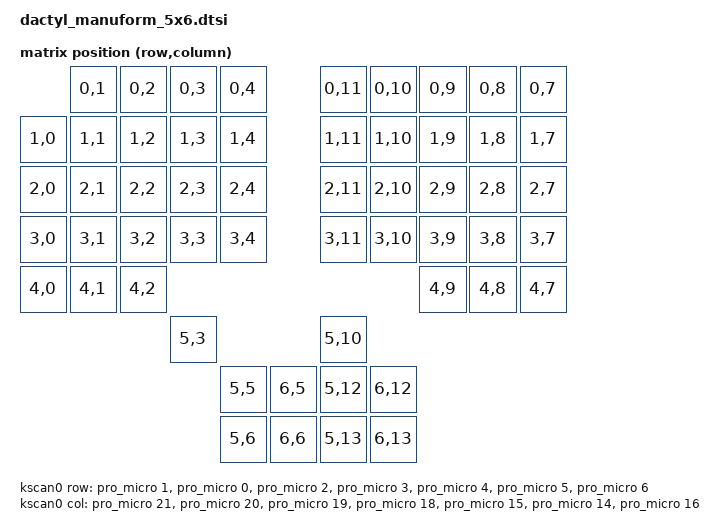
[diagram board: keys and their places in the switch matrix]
#include <dt-bindings/zmk/matrix_transform.h>

/*
 * Handwired Dactyl Manuform (Cosmos), SuperMini nRF52840 per half.
 * Each half: 7 rows x 7 cols, diodes col2row (cathode/stripe on the row wire).
 * Positions below were mapped from USB diagnostic logs of both halves.
 *
 * Visual order: left half pinky -> inner, right half inner -> pinky.
 * Right half cols are offset by 7 (pinky = 7 ... inner = 11, thumbs 12/13).
 *
 *            L: ring mid  idx  inner        R: inner idx  mid  ring pinky
 *  number        0,1  0,2  0,3  0,4             0,11  0,10 0,9  0,8  0,7
 *  Q row    1,0  1,1  1,2  1,3  1,4             1,11  1,10 1,9  1,8  1,7
 *  home     2,0  2,1  2,2  2,3  2,4             2,11  2,10 2,9  2,8  2,7
 *  bottom   3,0  3,1  3,2  3,3  3,4             3,11  3,10 3,9  3,8  3,7
 *  extra    4,0  4,1  4,2                                  4,9  4,8  4,7
 *
 *  thumbs (as seen from the front):
 *        single       5,3                       5,10
 *        middle pair  5,5  6,5                  5,12  6,12
 *        bottom pair  5,6  6,6 (rest)           5,13 (rest)  6,13
 */

/ {
    chosen {
        zmk,kscan = &kscan0;
        zmk,matrix_transform = &default_transform;
    };

    default_transform: keymap_transform_0 {
        compatible = "zmk,matrix-transform";
        rows = <7>;
        columns = <14>;
        map = <
        RC(0,1) RC(0,2) RC(0,3) RC(0,4)            RC(0,11) RC(0,10) RC(0,9) RC(0,8) RC(0,7)
RC(1,0) RC(1,1) RC(1,2) RC(1,3) RC(1,4)            RC(1,11) RC(1,10) RC(1,9) RC(1,8) RC(1,7)
RC(2,0) RC(2,1) RC(2,2) RC(2,3) RC(2,4)            RC(2,11) RC(2,10) RC(2,9) RC(2,8) RC(2,7)
RC(3,0) RC(3,1) RC(3,2) RC(3,3) RC(3,4)            RC(3,11) RC(3,10) RC(3,9) RC(3,8) RC(3,7)
RC(4,0) RC(4,1) RC(4,2)                                              RC(4,9) RC(4,8) RC(4,7)
                        RC(5,3)                    RC(5,10)
                                RC(5,5) RC(6,5)    RC(5,12) RC(6,12)
                                RC(5,6) RC(6,6)    RC(5,13) RC(6,13)
        >;
    };

    kscan0: kscan0 {
        compatible = "zmk,kscan-gpio-matrix";
        diode-direction = "col2row";
        wakeup-source;

        row-gpios
            = <&pro_micro 1 (GPIO_ACTIVE_HIGH | GPIO_PULL_DOWN)>  // R0 number row   P0.06
            , <&pro_micro 0 (GPIO_ACTIVE_HIGH | GPIO_PULL_DOWN)>  // R1 top row      P0.08
            , <&pro_micro 2 (GPIO_ACTIVE_HIGH | GPIO_PULL_DOWN)>  // R2 home row     P0.17
            , <&pro_micro 3 (GPIO_ACTIVE_HIGH | GPIO_PULL_DOWN)>  // R3 bottom row   P0.20
            , <&pro_micro 4 (GPIO_ACTIVE_HIGH | GPIO_PULL_DOWN)>  // R4 extra-bottom P0.22
            , <&pro_micro 5 (GPIO_ACTIVE_HIGH | GPIO_PULL_DOWN)>  // R5 thumb A      P0.24
            , <&pro_micro 6 (GPIO_ACTIVE_HIGH | GPIO_PULL_DOWN)>  // R6 thumb B      P1.00
            ;

        col-gpios
            = <&pro_micro 21 GPIO_ACTIVE_HIGH>  // C0 pinky    P0.31
            , <&pro_micro 20 GPIO_ACTIVE_HIGH>  // C1 ring     P0.29
            , <&pro_micro 19 GPIO_ACTIVE_HIGH>  // C2 middle   P0.02
            , <&pro_micro 18 GPIO_ACTIVE_HIGH>  // C3 index    P1.15
            , <&pro_micro 15 GPIO_ACTIVE_HIGH>  // C4 inner    P1.13
            , <&pro_micro 14 GPIO_ACTIVE_HIGH>  // C5 thumb A  P1.11
            , <&pro_micro 16 GPIO_ACTIVE_HIGH>  // C6 thumb B  P0.10 (NFC pin, see shield .conf)
            ;
        // D7, D8, D9, D10 intentionally unused: reserved for a PMW3610 trackball.
    };
};
